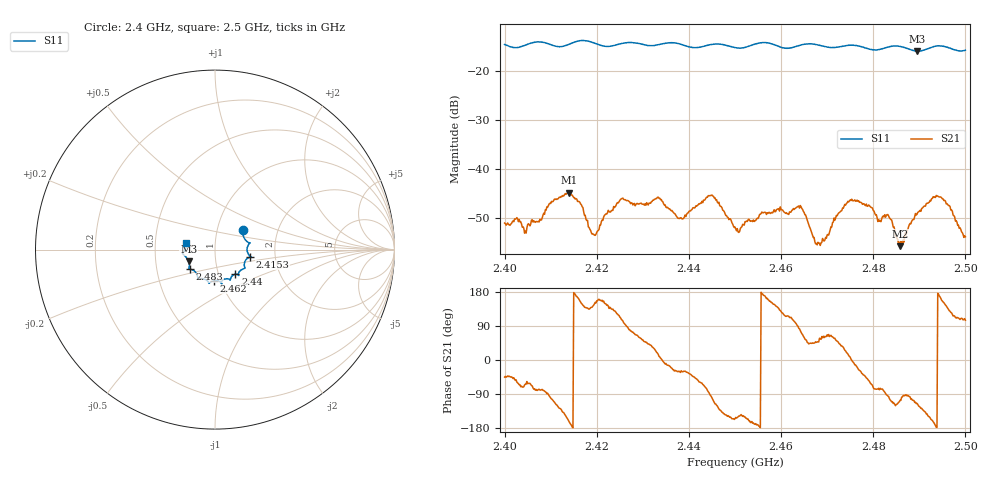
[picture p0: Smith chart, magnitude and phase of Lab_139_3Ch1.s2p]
# Hz S RI R 50
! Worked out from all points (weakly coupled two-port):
!   601 points, 2.4 GHz to 2.5 GHz, reference 50 ohm
!   highest |S21| = -44.77 dB at 2.414 GHz (marker M1); lowest = -55.7 dB at 2.4858 GHz (marker M2)
!   lowest |S11| = -15.9 dB at 2.4895 GHz (marker M3), VSWR 1.38, Z = 36.9 - j5 ohm
!   |S11| at or under -10 dB: start of sweep to end of sweep
!   S12 and S22 are empty: the file has one direction only
!   S11 on the Smith chart (normalised r, x): 2.4 GHz: 1.33, +0.29; 2.4153 GHz: 1.48, -0.12; 2.44 GHz: 1.20, -0.34; 2.462 GHz: 0.93, -0.33; 2.483 GHz: 0.74, -0.17; 2.5 GHz: 0.72, +0.06
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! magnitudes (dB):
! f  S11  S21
! 2.4 GHz  -14.5  -50.9
! 2.4045 GHz  -14.6  -52.6
! 2.414 GHz  -14.5  -44.8
! 2.4153 GHz  -14.0  -46.1
! 2.4167 GHz  -13.7  -47.2
! 2.4195 GHz  -14.2  -53.4
! 2.4253 GHz  -14.3  -46.0
! 2.4333 GHz  -14.6  -45.7
! 2.44 GHz  -15.0  -48.6
! 2.4448 GHz  -14.5  -45.3
! 2.45 GHz  -15.1  -51.8
! 2.462 GHz  -15.2  -48.8
! 2.4643 GHz  -14.6  -47.6
! 2.4667 GHz  -14.4  -53.0
! 2.469 GHz  -14.8  -54.1
! 2.475 GHz  -14.7  -46.3
! 2.483 GHz  -15.1  -49.2
! 2.4833 GHz  -15.0  -49.5
! 2.4858 GHz  -14.9  -55.7
! 2.4895 GHz  -15.9  -49.2
! 2.4943 GHz  -14.8  -45.6
! 2.5 GHz  -15.7  -53.8
